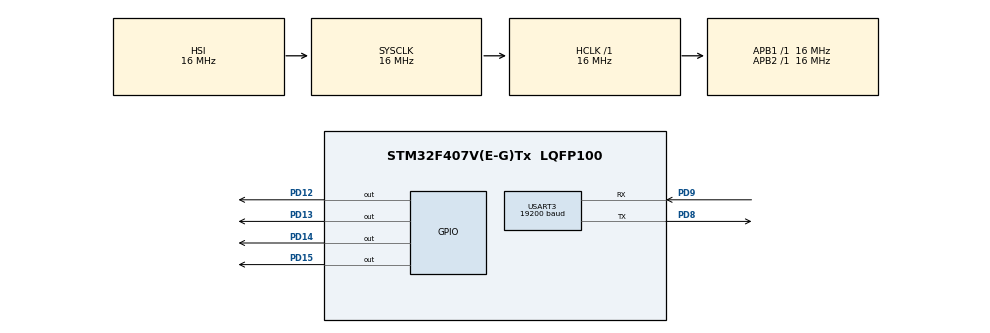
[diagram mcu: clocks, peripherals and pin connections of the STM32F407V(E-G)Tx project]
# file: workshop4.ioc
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Mcu.Family=STM32F4
Mcu.Name=STM32F407V(E-G)Tx
Mcu.Package=LQFP100
NVIC.PriorityGroup=NVIC_PRIORITYGROUP_4
PD12.Signal=GPIO_Output
PD13.Signal=GPIO_Output
PD14.Signal=GPIO_Output
PD15.Signal=GPIO_Output
PD8.Mode=Asynchronous
PD8.Signal=USART3_TX
PD9.Mode=Asynchronous
PD9.Signal=USART3_RX
ProjectManager.HeapSize=0x200
ProjectManager.StackSize=0x400
ProjectManager.TargetToolchain=STM32CubeIDE
RCC.AHBFreq_Value=16000000
RCC.APB1Freq_Value=16000000
RCC.APB2Freq_Value=16000000
RCC.CortexFreq_Value=16000000
RCC.HSE_VALUE=25000000
RCC.HSI_VALUE=16000000
RCC.LSE_VALUE=32768
RCC.SYSCLKFreq_VALUE=16000000
RCC.VCOOutputFreq_Value=192000000
USART3.BaudRate=19200
USART3.VirtualMode=VM_ASYNC
board=custom

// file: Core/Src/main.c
/* USER CODE BEGIN Header */
/**
  ******************************************************************************
  * @file           : main.c
  * @brief          : Main program body
  ******************************************************************************
  * @attention
  *
  * Copyright (c) 2024 STMicroelectronics.
  * All rights reserved.
  *
  * This software is licensed under terms that can be found in the LICENSE file
  * in the root directory of this software component.
  * If no LICENSE file comes with this software, it is provided AS-IS.
  *
  ******************************************************************************
  */
/* USER CODE END Header */
#include "main.h"

UART_HandleTypeDef huart3;

void SystemClock_Config(void);
static void MX_GPIO_Init(void);
static void MX_USART3_UART_Init(void);

int main(void)
{

  /* MCU Configuration--------------------------------------------------------*/

  /* Reset of all peripherals, Initializes the Flash interface and the Systick. */
  HAL_Init();

  /* Configure the system clock */
  SystemClock_Config();

  /* Initialize all configured peripherals */
  MX_GPIO_Init();
  MX_USART3_UART_Init();

  /* Infinite loop */
  /* USER CODE BEGIN WHILE */
  while (1)
  {
	  uint8_t rcvBuf [1];
	  HAL_StatusTypeDef result;

	  result = HAL_UART_Receive(&huart3, rcvBuf, 1, 10);

	  if (result == HAL_OK)
	  {
	          switch (rcvBuf[0])
	          {
	          case '1':
	              HAL_GPIO_TogglePin(GPIOD, GPIO_PIN_12); // Turn ON/OFF GREEN LED
	              HAL_UART_Transmit(&huart3, (uint8_t *)" - Green LED toggled\r\n", 22, 100);
	              break;

	          case '2':
	              HAL_GPIO_TogglePin(GPIOD, GPIO_PIN_13); // Turn ON/OFF ORANGE LED
	              HAL_UART_Transmit(&huart3, (uint8_t *)" - Orange LED toggled\r\n", 23, 100);
	              break;

	          case '3':
	              HAL_GPIO_TogglePin(GPIOD, GPIO_PIN_14); // Turn ON/OFF RED LED
	              HAL_UART_Transmit(&huart3, (uint8_t *)" - Red LED toggled\r\n", 20, 100);
	              break;

	          case '4':
	              HAL_GPIO_TogglePin(GPIOD, GPIO_PIN_15); // Turn ON/OFF BLUE LED
	              HAL_UART_Transmit(&huart3, (uint8_t *)" - Blue LED toggled\r\n", 21, 100);
	              break;

	          case '5':
	              // Turn on all LEDs
	              HAL_GPIO_WritePin(GPIOD, GPIO_PIN_12 | GPIO_PIN_13 | GPIO_PIN_14 | GPIO_PIN_15, GPIO_PIN_SET);
	              HAL_UART_Transmit(&huart3, (uint8_t *)" - All LEDs turned on\r\n", 23, 100);
	              break;

	          case '6':
	              // Turn off all LEDs
	              HAL_GPIO_WritePin(GPIOD, GPIO_PIN_12 | GPIO_PIN_13 | GPIO_PIN_14 | GPIO_PIN_15, GPIO_PIN_RESET);
	              HAL_UART_Transmit(&huart3, (uint8_t *)" - All LEDs turned off\r\n", 24, 100);
	              break;

	          default:
	              HAL_UART_Transmit(&huart3, (uint8_t *)" - UnexpCmd\r\n", 13, 100);
	              break;
	          }
	  }
    /* USER CODE END WHILE */

  }
}

void SystemClock_Config(void)
{
  RCC_OscInitTypeDef RCC_OscInitStruct = {0};
  RCC_ClkInitTypeDef RCC_ClkInitStruct = {0};

  /** Configure the main internal regulator output voltage
  */
  __HAL_RCC_PWR_CLK_ENABLE();
  __HAL_PWR_VOLTAGESCALING_CONFIG(PWR_REGULATOR_VOLTAGE_SCALE1);

  /** Initializes the RCC Oscillators according to the specified parameters
  * in the RCC_OscInitTypeDef structure.
  */
  RCC_OscInitStruct.OscillatorType = RCC_OSCILLATORTYPE_HSI;
  RCC_OscInitStruct.HSIState = RCC_HSI_ON;
  RCC_OscInitStruct.HSICalibrationValue = RCC_HSICALIBRATION_DEFAULT;
  RCC_OscInitStruct.PLL.PLLState = RCC_PLL_NONE;
  if (HAL_RCC_OscConfig(&RCC_OscInitStruct) != HAL_OK)
  {
    Error_Handler();
  }

  /** Initializes the CPU, AHB and APB buses clocks
  */
  RCC_ClkInitStruct.ClockType = RCC_CLOCKTYPE_HCLK|RCC_CLOCKTYPE_SYSCLK
                              |RCC_CLOCKTYPE_PCLK1|RCC_CLOCKTYPE_PCLK2;
  RCC_ClkInitStruct.SYSCLKSource = RCC_SYSCLKSOURCE_HSI;
  RCC_ClkInitStruct.AHBCLKDivider = RCC_SYSCLK_DIV1;
  RCC_ClkInitStruct.APB1CLKDivider = RCC_HCLK_DIV1;
  RCC_ClkInitStruct.APB2CLKDivider = RCC_HCLK_DIV1;

  if (HAL_RCC_ClockConfig(&RCC_ClkInitStruct, FLASH_LATENCY_0) != HAL_OK)
  {
    Error_Handler();
  }
}

static void MX_USART3_UART_Init(void)
{

  huart3.Instance = USART3;
  huart3.Init.BaudRate = 19200;
  huart3.Init.WordLength = UART_WORDLENGTH_8B;
  huart3.Init.StopBits = UART_STOPBITS_1;
  huart3.Init.Parity = UART_PARITY_NONE;
  huart3.Init.Mode = UART_MODE_TX_RX;
  huart3.Init.HwFlowCtl = UART_HWCONTROL_NONE;
  huart3.Init.OverSampling = UART_OVERSAMPLING_16;
  if (HAL_UART_Init(&huart3) != HAL_OK)
  {
    Error_Handler();
  }

}

static void MX_GPIO_Init(void)
{
  GPIO_InitTypeDef GPIO_InitStruct = {0};

  /* GPIO Ports Clock Enable */
  __HAL_RCC_GPIOD_CLK_ENABLE();

  /*Configure GPIO pin Output Level */
  HAL_GPIO_WritePin(GPIOD, GPIO_PIN_12|GPIO_PIN_13|GPIO_PIN_14|GPIO_PIN_15, GPIO_PIN_RESET);

  /*Configure GPIO pins : PD12 PD13 PD14 PD15 */
  GPIO_InitStruct.Pin = GPIO_PIN_12|GPIO_PIN_13|GPIO_PIN_14|GPIO_PIN_15;
  GPIO_InitStruct.Mode = GPIO_MODE_OUTPUT_PP;
  GPIO_InitStruct.Pull = GPIO_NOPULL;
  GPIO_InitStruct.Speed = GPIO_SPEED_FREQ_LOW;
  HAL_GPIO_Init(GPIOD, &GPIO_InitStruct);

}

void Error_Handler(void)
{
  __disable_irq();
  while (1)
  {
  }
}
